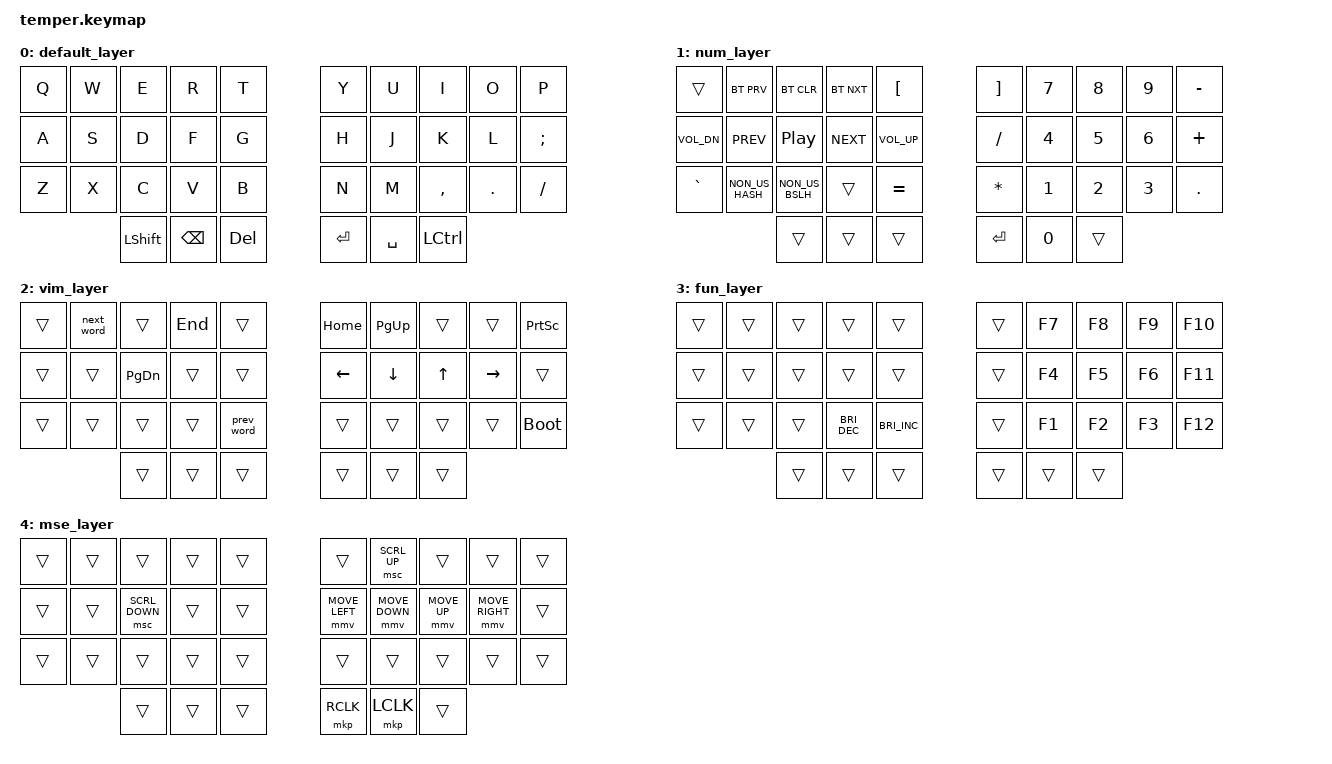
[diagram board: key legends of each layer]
// Copyright (c) 2022 The ZMK Contributors
// SPDX-License-Identifier: MIT

#include <behaviors.dtsi>
#include <dt-bindings/zmk/keys.h>
#include <dt-bindings/zmk/bt.h>
#include <dt-bindings/zmk/outputs.h>
#include <dt-bindings/zmk/mouse.h>

&mt {
    flavor = "tap-preferred";
    tapping_term_ms = <300>;
};
&sk {    release-after-ms = <500>;};

#define HOM 0
#define NUM 1
#define VIM 2
#define FUN 3
#define MSE 4

#define ______ &trans


/ { 
    combos {
        compatible = "zmk,combos";
        combo_esc {
            timeout-ms = <50>;
            key-positions = <20 21>;
            bindings = <&lt 0 ESC>;
        };
        combo_alt {
            timeout-ms = <50>;
            key-positions = <21 22>;
            bindings = <&sk LALT>;
        };
        combo_meta {
            timeout-ms = <50>;
            key-positions = <23 24>;
            bindings = <&sk LMETA>;
        };
        combo_apostrophe {
            timeout-ms = <50>;
            key-positions = <25 26>;
            bindings = <&kp APOS>;
        };
        combo_altgr {
            timeout-ms = <50>;
            key-positions = <27 28>;
            bindings = <&sk RALT>;
        };
        combo_tab {
            timeout-ms = <50>;
            key-positions = <28 29>;
            bindings = <&mt LC(LSHFT) TAB>;
        };
        combo_lnum {
            timeout-ms = <50>;
            key-positions = <23 31>;
            bindings = <&sl NUM>;
        };
        combo_lvim {
            timeout-ms = <50>;
            key-positions = <22 31>;
            bindings = <&sl VIM>;
        };
        combo_lfun {
            timeout-ms = <50>;
            key-positions = <21 31>;
            bindings = <&sl FUN>;
        };
        /* combo_lnumlock { */
        /*     timeout-ms = <50>; */
        /*     key-positions = <23 31>; */
        /*     bindings = <&tog NUM>; */
        /* }; */
        /* combo_lvimlock { */
        /*     timeout-ms = <50>; */
        /*     key-positions = <22 31>; */
        /*     bindings = <&tog VIM>; */
        /* }; */
        /* combo_lfunlock { */
        /*     timeout-ms = <50>; */
        /*     key-positions = <21 31>; */
        /*     bindings = <&tog FUN>; */
        /* }; */
        combo_rnum {
            timeout-ms = <50>;
            key-positions = <26 34>;
            bindings = <&sl NUM>;
        };
        combo_rvim {
            timeout-ms = <50>;
            key-positions = <27 34>;
            bindings = <&sl VIM>;
        };
        combo_rfun {
            timeout-ms = <50>;
            key-positions = <28 34>;
            bindings = <&sl FUN>;
        };
        combo_mouse {
            key-positions = <10 11>;
            bindings = <&sl MSE>;
        };
    };

    macros {
        prev_word: prev_word {
            label = "prev_word";
            compatible = "zmk,behavior-macro";
            #binding-cells = <0>;
            bindings
                = <&macro_press &kp LCTRL>
                , <&macro_tap &kp LEFT>
                , <&macro_release &kp LCTRL>
                ;
        };
        next_word: next_word {
            label = "next_word";
            compatible = "zmk,behavior-macro";
            #binding-cells = <0>;
            bindings
                = <&macro_press &kp LCTRL>
                , <&macro_tap &kp RIGHT>
                , <&macro_release &kp LCTRL>
                ;
        };
    };

// ╭─────────────┬─────────────┬─────────────┬─────────────┬─────────────╮   ╭─────────────┬─────────────┬─────────────┬─────────────┬─────────────╮
//	      0             1             2             3            4                 5              6            7              8             9
// ├─────────────┼─────────────┼─────────────┼─────────────┼─────────────┤   ├─────────────┼─────────────┼─────────────┼─────────────┼─────────────┤
//	      10            11            22            33           14                15             16           17             18            19
// ├─────────────┼─────────────┼─────────────┼─────────────┼─────────────┤   ├─────────────┼─────────────┼─────────────┼─────────────┼─────────────┤
//	      20            21            22            23           24                25             26           27             28            29
// ├─────────────┼─────────────┼─────────────┼─────────────┼─────────────┤   ├─────────────┼─────────────┼─────────────┼─────────────┼─────────────┤
//          	                      30            31           32                33             34           35
//                             ╰─────────────┴─────────────┴─────────────╯   ╰─────────────┴─────────────┴─────────────╯

    keymap {
        compatible = "zmk,keymap";
        default_layer {
            bindings = <
// ╭─────────────┬─────────────┬─────────────┬─────────────┬─────────────╮   ╭─────────────┬─────────────┬─────────────┬─────────────┬─────────────╮
	 &kp Q         &kp W         &kp E         &kp R         &kp T             &kp Y         &kp U         &kp I         &kp O         &kp P 
// ├─────────────┼─────────────┼─────────────┼─────────────┼─────────────┤   ├─────────────┼─────────────┼─────────────┼─────────────┼─────────────┤
	 &kp A         &kp S         &kp D         &kp F         &kp G             &kp H         &kp J         &kp K         &kp L         &kp SEMI 
// ├─────────────┼─────────────┼─────────────┼─────────────┼─────────────┤   ├─────────────┼─────────────┼─────────────┼─────────────┼─────────────┤
     &kp Z         &kp X         &kp C         &kp V         &kp B             &kp N         &kp M         &kp COMMA      &kp DOT       &kp SLASH 
// ├─────────────┼─────────────┼─────────────┼─────────────┼─────────────┤   ├─────────────┼─────────────┼─────────────┼─────────────┼─────────────┤
          	                     &kp LSHFT     &kp BSPC      &kp DEL          &kp RET        &kp SPC        &kp LCTRL
//                             ╰─────────────┴─────────────┴─────────────╯   ╰─────────────┴─────────────┴─────────────╯

        >;
        };

        num_layer {
		bindings = <
// ╭─────────────┬─────────────┬─────────────┬─────────────┬─────────────╮   ╭─────────────┬─────────────┬─────────────┬─────────────┬─────────────╮
	 &trans        &bt BT_PRV    &bt BT_CLR    &bt BT_NXT    &kp LBKT          &kp RBKT      &kp N7        &kp N8        &kp N9        &kp MINUS 
// ├─────────────┼─────────────┼─────────────┼─────────────┼─────────────┤   ├─────────────┼─────────────┼─────────────┼─────────────┼─────────────┤
    &kp C_VOL_DN   &kp C_PREV    &kp C_PP      &kp C_NEXT    &kp C_VOL_UP      &kp SLASH     &kp N4        &kp N5        &kp N6        &kp PLUS 
// ├─────────────┼─────────────┼─────────────┼─────────────┼─────────────┤   ├─────────────┼─────────────┼─────────────┼─────────────┼─────────────┤
     &kp GRAVE  &kp NON_US_HASH &kp NON_US_BSLH &trans       &kp EQUAL         &kp STAR      &kp N1        &kp N2        &kp N3        &kp DOT 
// ╰───────────────────────────┼─────────────┼─────────────┼─────────────┤   ├─────────────┼─────────────┼─────────────┼─────────────-─────────────╯
				                 &trans        &trans        &trans            &kp RET       &kp N0        &trans 
//                             ╰─────────────┴─────────────┴─────────────╯   ╰─────────────┴─────────────┴─────────────╯
		>;
		};

		vim_layer {
		bindings = <
// ╭─────────────┬─────────────┬─────────────┬─────────────┬─────────────╮   ╭─────────────┬─────────────┬─────────────┬─────────────┬─────────────╮
     &trans        &next_word    &trans        &kp END       &trans            &kp HOME      &kp PG_UP     &trans        &trans        &kp PSCRN 
// ├─────────────┼─────────────┼─────────────┼─────────────┼─────────────┤   ├─────────────┼─────────────┼─────────────┼─────────────┼─────────────┤
     &trans        &trans        &kp PG_DN     &trans        &trans            &kp LEFT      &kp DOWN      &kp UP        &kp RIGHT     &trans
// ├─────────────┼─────────────┼─────────────┼─────────────┼─────────────┤   ├─────────────┼─────────────┼─────────────┼─────────────┼─────────────┤
     &trans        &trans        &trans        &trans        &prev_word        &trans        &trans        &trans        &trans        &bootloader
// ╰───────────────────────────┼─────────────┼─────────────┼─────────────┤   ├─────────────┼─────────────┼─────────────┼─────────────-─────────────╯
					             &trans        &trans  		 &trans            &trans        &trans        &trans
//                             ╰─────────────┴─────────────┴─────────────╯   ╰─────────────┴─────────────┴─────────────╯
		>;
		};	
		
		fun_layer {
		bindings = <
// ╭─────────────┬─────────────┬─────────────┬─────────────┬─────────────╮   ╭─────────────┬─────────────┬─────────────┬─────────────┬─────────────╮
     &trans        &trans         &trans       &trans        &trans            &trans        &kp F7        &kp F8        &kp F9        &kp F10   
// ├─────────────┼─────────────┼─────────────┼─────────────┼─────────────┤   ├─────────────┼─────────────┼─────────────┼─────────────┼─────────────┤
     &trans        &trans         &trans       &trans        &trans            &trans        &kp F4        &kp F5        &kp F6        &kp F11  
// ├─────────────┼─────────────┼─────────────┼─────────────┼─────────────┤   ├─────────────┼─────────────┼─────────────┼─────────────┼─────────────┤
	 &trans        &trans       &trans  &kp C_BRIGHTNESS_DEC &kp C_BRIGHTNESS_INC &trans     &kp F1        &kp F2        &kp F3        &kp F12
// ╰───────────────────────────┼─────────────┼─────────────┼─────────────┤   ├─────────────┼─────────────┼─────────────┼─────────────-─────────────╯
                                  &trans       &trans        &trans            &trans        &trans        &trans
//                             ╰─────────────┴─────────────┴─────────────╯   ╰─────────────┴─────────────┴─────────────╯
		>;
		};
		
		mse_layer {
		bindings = <
// ╭─────────────┬─────────────┬─────────────┬─────────────┬─────────────╮   ╭─────────────┬─────────────┬─────────────┬─────────────┬─────────────╮
     &trans        &trans        &trans        &trans        &trans            &trans        &msc SCRL_UP  &trans         &trans        &trans   
// ├─────────────┼─────────────┼─────────────┼─────────────┼─────────────┤   ├─────────────┼─────────────┼─────────────┼─────────────┼─────────────┤
	 &trans        &trans      &msc SCRL_DOWN  &trans       &trans          &mmv MOVE_LEFT &mmv MOVE_DOWN &mmv MOVE_UP &mmv MOVE_RIGHT &trans   
// ├─────────────┼─────────────┼─────────────┼─────────────┼─────────────┤   ├─────────────┼─────────────┼─────────────┼─────────────┼─────────────┤
     &trans        &trans        &trans        &trans        &trans            &trans        &trans        &trans        &trans        &trans
// ╰───────────────────────────┼─────────────┼─────────────┼─────────────┤   ├─────────────┼─────────────┼─────────────┼─────────────-─────────────╯
                                 &trans        &trans        &trans            &mkp RCLK     &mkp LCLK     &trans
//                             ╰─────────────┴─────────────┴─────────────╯   ╰─────────────┴─────────────┴─────────────╯
		>;
		};
    
    };
};
